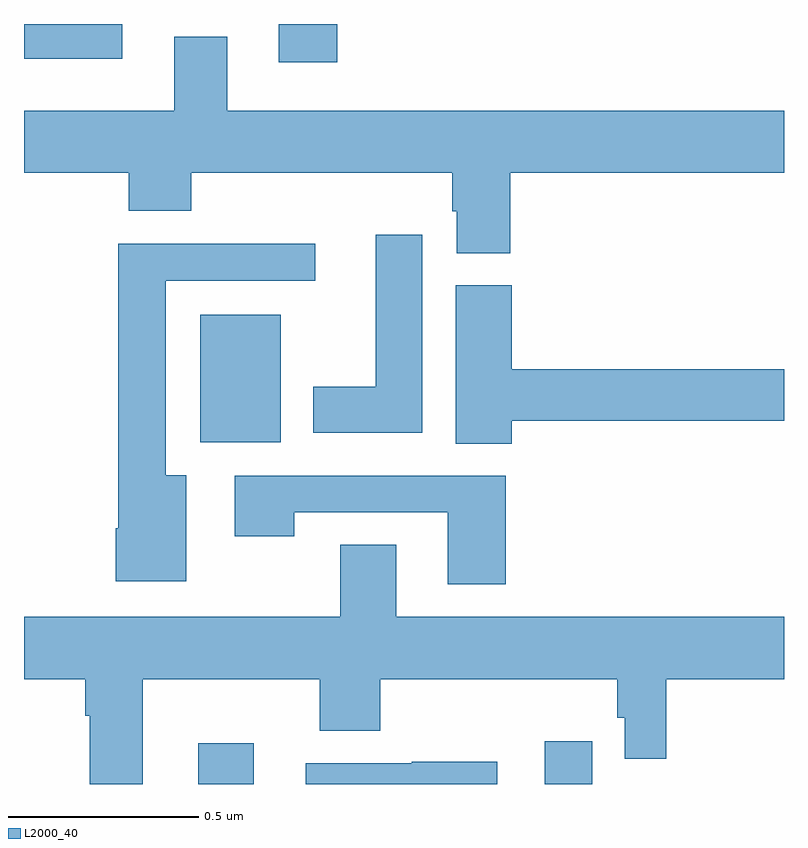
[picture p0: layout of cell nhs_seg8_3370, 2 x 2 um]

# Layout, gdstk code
import gdstk
lib = gdstk.Library(unit=1e-6, precision=1e-09)
def R(c, l, rs):  # rectangles x0, y0, x1, y1
    for r in rs: c.add(gdstk.rectangle(r[:2], r[2:], *l))
def P(c, l, *ps):  # polygons
    for p in ps: c.add(gdstk.Polygon(p, *l))
L2000_40 = (2000, 40)

nhs_seg8_3370 = lib.new_cell('nhs_seg8_3370')
R(nhs_seg8_3370, L2000_40, [(156.458,1106.9,156.604,1107.007), (157.371,1106.9,157.496,1107.013), (156.464,1107.8,156.676,1108.135), (156.671,1108.8,156.824,1108.9), (156,1108.808,156.259,1108.9)])
P(nhs_seg8_3370, L2000_40, [(156.395,1108.672),(156,1108.672),(156,1108.508),(156.275,1108.508),(156.275,1108.409),(156.44,1108.409),(156.44,1108.508),(157.127,1108.508),(157.127,1108.407),(157.139,1108.407),(157.139,1108.297),(157.28,1108.297),(157.28,1108.508),(158,1108.508),(158,1108.672),(156.535,1108.672),(156.535,1108.867),(156.395,1108.867)],
  [(157.048,1108.345),(156.926,1108.345),(156.926,1107.946),(156.761,1107.946),(156.761,1107.824),(157.048,1107.824)],
  [(156.427,1107.712),(156.373,1107.712),(156.373,1108.224),(156.766,1108.224),(156.766,1108.322),(156.248,1108.322),(156.248,1107.573),(156.242,1107.573),(156.242,1107.434),(156.427,1107.434)],
  [(157.283,1107.856),(158,1107.856),(158,1107.992),(157.283,1107.992),(157.283,1108.212),(157.136,1108.212),(157.136,1107.796),(157.283,1107.796)],
  [(157.268,1107.711),(156.555,1107.711),(156.555,1107.552),(156.711,1107.552),(156.711,1107.615),(157.115,1107.615),(157.115,1107.426),(157.268,1107.426)],
  [(156.313,1107.176),(156.778,1107.176),(156.778,1107.04),(156.938,1107.04),(156.938,1107.176),(157.561,1107.176),(157.561,1107.075),(157.581,1107.075),(157.581,1106.966),(157.69,1106.966),(157.69,1107.176),(158,1107.176),(158,1107.34),(156.979,1107.34),(156.979,1107.53),(156.832,1107.53),(156.832,1107.34),(156,1107.34),(156,1107.176),(156.161,1107.176),(156.161,1107.08),(156.173,1107.08),(156.173,1106.9),(156.313,1106.9)],
  [(157.246,1106.958),(157.021,1106.958),(157.021,1106.955),(156.741,1106.955),(156.741,1106.9),(157.246,1106.9)])

lib.write_gds('nhs_seg8_3370.gds')
